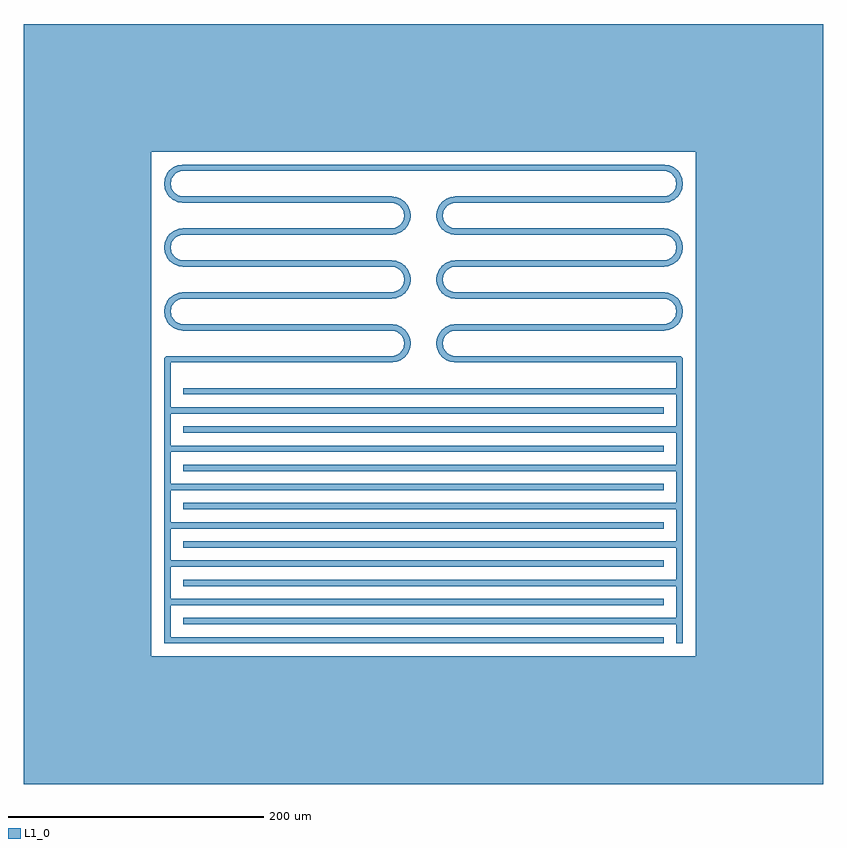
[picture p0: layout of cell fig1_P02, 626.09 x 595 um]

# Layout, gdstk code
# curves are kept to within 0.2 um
import gdstk
lib = gdstk.Library(unit=1e-6, precision=1e-09)
def R(c, l, rs):  # rectangles x0, y0, x1, y1
    for r in rs: c.add(gdstk.rectangle(r[:2], r[2:], *l))
def A(c, l, x, y, w, h, nx, ny, dx, dy):  # array of equal rectangles
    R(c, l, [(x+i*dx, y+j*dy, x+i*dx+w, y+j*dy+h) for i in range(nx) for j in range(ny)])
def P(c, l, *ps):  # polygons
    for p in ps: c.add(gdstk.Polygon(p, *l))
L1_0 = (1, 0)

fig1_p02 = lib.new_cell('fig1_P02')
A(fig1_p02, L1_0, -203.043, 0, 391.086, 5, 1, 7, 0, 30)
A(fig1_p02, L1_0, -188.043, 15, 391.086, 5, 1, 7, 0, 30)
A(fig1_p02, L1_0, -188.043, 245, 163.043, 5, 1, 5, 0, 25)
A(fig1_p02, L1_0, 25, 245, 163.043, 5, 1, 5, 0, 25)
R(fig1_p02, L1_0, [(-313.043,-110,313.043,-10), (-313.043,-10,-213.043,385), (213.043,-10,313.043,385), (-203.043,0,-198.043,200), (198.043,0,203.043,200), (-203.043,197.5,-198.043,222.5), (198.043,197.5,203.043,222.5), (-200.543,220,-25,225), (25,220,200.543,225), (-188.043,370,188.043,375), (-313.043,385,313.043,485)])
P(fig1_p02, L1_0, [(14.979,334.674),(10.021,335.326),(10.447,338.562),(15.405,337.909)],
  [(12.926,335.735),(11.158,336.467),(10.426,338.235),(11.158,340.003),(12.926,340.735),(14.694,340.003),(15.426,338.235),(14.694,336.467)],
  [(12.5,332.5),(10.732,333.232),(10,335),(10.732,336.768),(12.5,337.5),(14.268,336.768),(15,335),(14.268,333.232)],
  [(195.815,347.191),(192.771,351.158),(195.36,353.145),(198.404,349.178)],
  [(192.235,345.616),(190.322,350.236),(193.336,351.484),(195.25,346.865)],
  [(188.369,345.021),(187.717,349.979),(190.952,350.405),(191.605,345.447)],
  [(190.952,369.595),(187.717,370.021),(188.369,374.979),(191.605,374.553)],
  [(193.336,368.516),(190.322,369.764),(192.235,374.384),(195.25,373.135)],
  [(195.36,366.855),(192.771,368.842),(195.815,372.809),(198.404,370.822)],
  [(196.885,364.728),(194.898,367.317),(198.865,370.361),(200.852,367.772)],
  [(197.807,362.279),(196.559,365.293),(201.178,367.207),(202.427,364.192)],
  [(198.064,359.674),(197.638,362.909),(202.596,363.562),(203.022,360.326)],
  [(202.596,356.438),(197.638,357.091),(198.064,360.326),(203.022,359.674)],
  [(188.043,370),(186.275,370.732),(185.543,372.5),(186.275,374.268),(188.043,375),(189.811,374.268),(190.543,372.5),(189.811,370.732)],
  [(191.278,369.574),(189.51,370.306),(188.778,372.074),(189.51,373.842),(191.278,374.574),(193.046,373.842),(193.778,372.074),(193.046,370.306)],
  [(194.293,368.325),(192.525,369.058),(191.793,370.825),(192.525,372.593),(194.293,373.325),(196.061,372.593),(196.793,370.825),(196.061,369.058)],
  [(196.882,366.339),(195.114,367.071),(194.382,368.839),(195.114,370.607),(196.882,371.339),(198.65,370.607),(199.382,368.839),(198.65,367.071)],
  [(198.868,363.75),(197.101,364.482),(196.368,366.25),(197.101,368.018),(198.868,368.75),(200.636,368.018),(201.368,366.25),(200.636,364.482)],
  [(200.117,360.735),(198.349,361.467),(197.617,363.235),(198.349,365.003),(200.117,365.735),(201.885,365.003),(202.617,363.235),(201.885,361.467)],
  [(200.543,357.5),(198.775,358.232),(198.043,360),(198.775,361.768),(200.543,362.5),(202.311,361.768),(203.043,360),(202.311,358.232)],
  [(200.117,354.265),(198.349,354.997),(197.617,356.765),(198.349,358.533),(200.117,359.265),(201.885,358.533),(202.617,356.765),(201.885,354.997)],
  [(198.868,351.25),(197.101,351.982),(196.368,353.75),(197.101,355.518),(198.868,356.25),(200.636,355.518),(201.368,353.75),(200.636,351.982)],
  [(196.882,348.661),(195.114,349.393),(194.382,351.161),(195.114,352.929),(196.882,353.661),(198.65,352.929),(199.382,351.161),(198.65,349.393)],
  [(194.293,346.675),(192.525,347.407),(191.793,349.175),(192.525,350.942),(194.293,351.675),(196.061,350.942),(196.793,349.175),(196.061,347.407)],
  [(191.278,345.426),(189.51,346.158),(188.778,347.926),(189.51,349.694),(191.278,350.426),(193.046,349.694),(193.778,347.926),(193.046,346.158)],
  [(188.043,345),(186.275,345.732),(185.543,347.5),(186.275,349.268),(188.043,350),(189.811,349.268),(190.543,347.5),(189.811,345.732)],
  [(201.178,352.793),(196.559,354.707),(197.807,357.721),(202.427,355.808)],
  [(198.865,349.639),(194.898,352.683),(196.885,355.272),(200.852,352.228)],
  [(19.707,343.516),(17.793,348.135),(20.808,349.384),(22.721,344.764)],
  [(17.683,341.855),(14.639,345.822),(17.228,347.809),(20.272,343.842)],
  [(16.158,339.728),(12.191,342.772),(14.178,345.361),(18.145,342.317)],
  [(25,345),(23.232,345.732),(22.5,347.5),(23.232,349.268),(25,350),(26.768,349.268),(27.5,347.5),(26.768,345.732)],
  [(21.765,344.574),(19.997,345.306),(19.265,347.074),(19.997,348.842),(21.765,349.574),(23.533,348.842),(24.265,347.074),(23.533,345.306)],
  [(18.75,343.325),(16.982,344.058),(16.25,345.825),(16.982,347.593),(18.75,348.325),(20.518,347.593),(21.25,345.825),(20.518,344.058)],
  [(16.161,341.339),(14.393,342.071),(13.661,343.839),(14.393,345.607),(16.161,346.339),(17.929,345.607),(18.661,343.839),(17.929,342.071)],
  [(14.175,338.75),(12.407,339.482),(11.675,341.25),(12.407,343.018),(14.175,343.75),(15.942,343.018),(16.675,341.25),(15.942,339.482)],
  [(15.236,337.279),(10.616,339.192),(11.865,342.207),(16.484,340.293)],
  [(22.091,344.595),(21.438,349.553),(24.674,349.979),(25.326,345.021)],
  [(16.158,239.728),(12.191,242.772),(14.178,245.361),(18.145,242.317)],
  [(15.236,237.279),(10.616,239.192),(11.865,242.207),(16.484,240.293)],
  [(14.979,234.674),(10.021,235.326),(10.447,238.562),(15.405,237.909)],
  [(10.447,231.438),(10.021,234.674),(14.979,235.326),(15.405,232.091)],
  [(11.865,227.793),(10.616,230.808),(15.236,232.721),(16.484,229.707)],
  [(14.178,224.639),(12.191,227.228),(16.158,230.272),(18.145,227.683)],
  [(17.228,222.191),(14.639,224.178),(17.683,228.145),(20.272,226.158)],
  [(20.808,220.616),(17.793,221.865),(19.707,226.484),(22.721,225.236)],
  [(24.674,220.021),(21.438,220.447),(22.091,225.405),(25.326,224.979)],
  [(20.808,320.616),(17.793,321.865),(19.707,326.484),(22.721,325.236)],
  [(24.674,320.021),(21.438,320.447),(22.091,325.405),(25.326,324.979)],
  [(10.447,331.438),(10.021,334.674),(14.979,335.326),(15.405,332.091)],
  [(11.865,327.793),(10.616,330.808),(15.236,332.721),(16.484,329.707)],
  [(22.091,294.595),(21.438,299.553),(24.674,299.979),(25.326,295.021)],
  [(19.707,293.516),(17.793,298.135),(20.808,299.384),(22.721,294.764)],
  [(17.683,291.855),(14.639,295.822),(17.228,297.809),(20.272,293.842)],
  [(16.158,289.728),(12.191,292.772),(14.178,295.361),(18.145,292.317)],
  [(15.236,287.279),(10.616,289.192),(11.865,292.207),(16.484,290.293)],
  [(14.979,284.674),(10.021,285.326),(10.447,288.562),(15.405,287.909)],
  [(10.447,281.438),(10.021,284.674),(14.979,285.326),(15.405,282.091)],
  [(11.865,277.793),(10.616,280.808),(15.236,282.721),(16.484,279.707)],
  [(14.178,274.639),(12.191,277.228),(16.158,280.272),(18.145,277.683)],
  [(17.228,272.191),(14.639,274.178),(17.683,278.145),(20.272,276.158)],
  [(20.808,270.616),(17.793,271.865),(19.707,276.484),(22.721,275.236)],
  [(24.674,270.021),(21.438,270.447),(22.091,275.405),(25.326,274.979)],
  [(14.178,324.639),(12.191,327.228),(16.158,330.272),(18.145,327.683)],
  [(17.228,322.191),(14.639,324.178),(17.683,328.145),(20.272,326.158)],
  [(22.091,244.595),(21.438,249.553),(24.674,249.979),(25.326,245.021)],
  [(19.707,243.516),(17.793,248.135),(20.808,249.384),(22.721,244.764)],
  [(17.683,241.855),(14.639,245.822),(17.228,247.809),(20.272,243.842)],
  [(12.926,329.265),(11.158,329.997),(10.426,331.765),(11.158,333.533),(12.926,334.265),(14.694,333.533),(15.426,331.765),(14.694,329.997)],
  [(14.175,326.25),(12.407,326.982),(11.675,328.75),(12.407,330.518),(14.175,331.25),(15.942,330.518),(16.675,328.75),(15.942,326.982)],
  [(16.161,323.661),(14.393,324.393),(13.661,326.161),(14.393,327.929),(16.161,328.661),(17.929,327.929),(18.661,326.161),(17.929,324.393)],
  [(18.75,321.675),(16.982,322.407),(16.25,324.175),(16.982,325.942),(18.75,326.675),(20.518,325.942),(21.25,324.175),(20.518,322.407)],
  [(21.765,320.426),(19.997,321.158),(19.265,322.926),(19.997,324.694),(21.765,325.426),(23.533,324.694),(24.265,322.926),(23.533,321.158)],
  [(25,320),(23.232,320.732),(22.5,322.5),(23.232,324.268),(25,325),(26.768,324.268),(27.5,322.5),(26.768,320.732)],
  [(25,295),(23.232,295.732),(22.5,297.5),(23.232,299.268),(25,300),(26.768,299.268),(27.5,297.5),(26.768,295.732)],
  [(21.765,294.574),(19.997,295.306),(19.265,297.074),(19.997,298.842),(21.765,299.574),(23.533,298.842),(24.265,297.074),(23.533,295.306)],
  [(18.75,293.325),(16.982,294.058),(16.25,295.825),(16.982,297.593),(18.75,298.325),(20.518,297.593),(21.25,295.825),(20.518,294.058)],
  [(16.161,291.339),(14.393,292.071),(13.661,293.839),(14.393,295.607),(16.161,296.339),(17.929,295.607),(18.661,293.839),(17.929,292.071)],
  [(14.175,288.75),(12.407,289.482),(11.675,291.25),(12.407,293.018),(14.175,293.75),(15.942,293.018),(16.675,291.25),(15.942,289.482)],
  [(12.926,285.735),(11.158,286.467),(10.426,288.235),(11.158,290.003),(12.926,290.735),(14.694,290.003),(15.426,288.235),(14.694,286.467)],
  [(12.5,282.5),(10.732,283.232),(10,285),(10.732,286.768),(12.5,287.5),(14.268,286.768),(15,285),(14.268,283.232)],
  [(12.926,279.265),(11.158,279.997),(10.426,281.765),(11.158,283.533),(12.926,284.265),(14.694,283.533),(15.426,281.765),(14.694,279.997)],
  [(14.175,276.25),(12.407,276.982),(11.675,278.75),(12.407,280.518),(14.175,281.25),(15.942,280.518),(16.675,278.75),(15.942,276.982)],
  [(16.161,273.661),(14.393,274.393),(13.661,276.161),(14.393,277.929),(16.161,278.661),(17.929,277.929),(18.661,276.161),(17.929,274.393)],
  [(18.75,271.675),(16.982,272.407),(16.25,274.175),(16.982,275.942),(18.75,276.675),(20.518,275.942),(21.25,274.175),(20.518,272.407)],
  [(21.765,270.426),(19.997,271.158),(19.265,272.926),(19.997,274.694),(21.765,275.426),(23.533,274.694),(24.265,272.926),(23.533,271.158)],
  [(25,270),(23.232,270.732),(22.5,272.5),(23.232,274.268),(25,275),(26.768,274.268),(27.5,272.5),(26.768,270.732)],
  [(25,245),(23.232,245.732),(22.5,247.5),(23.232,249.268),(25,250),(26.768,249.268),(27.5,247.5),(26.768,245.732)],
  [(21.765,244.574),(19.997,245.306),(19.265,247.074),(19.997,248.842),(21.765,249.574),(23.533,248.842),(24.265,247.074),(23.533,245.306)],
  [(18.75,243.325),(16.982,244.058),(16.25,245.825),(16.982,247.593),(18.75,248.325),(20.518,247.593),(21.25,245.825),(20.518,244.058)],
  [(16.161,241.339),(14.393,242.071),(13.661,243.839),(14.393,245.607),(16.161,246.339),(17.929,245.607),(18.661,243.839),(17.929,242.071)],
  [(14.175,238.75),(12.407,239.482),(11.675,241.25),(12.407,243.018),(14.175,243.75),(15.942,243.018),(16.675,241.25),(15.942,239.482)],
  [(12.926,235.735),(11.158,236.467),(10.426,238.235),(11.158,240.003),(12.926,240.735),(14.694,240.003),(15.426,238.235),(14.694,236.467)],
  [(12.5,232.5),(10.732,233.232),(10,235),(10.732,236.768),(12.5,237.5),(14.268,236.768),(15,235),(14.268,233.232)],
  [(12.926,229.265),(11.158,229.997),(10.426,231.765),(11.158,233.533),(12.926,234.265),(14.694,233.533),(15.426,231.765),(14.694,229.997)],
  [(14.175,226.25),(12.407,226.982),(11.675,228.75),(12.407,230.518),(14.175,231.25),(15.942,230.518),(16.675,228.75),(15.942,226.982)],
  [(16.161,223.661),(14.393,224.393),(13.661,226.161),(14.393,227.929),(16.161,228.661),(17.929,227.929),(18.661,226.161),(17.929,224.393)],
  [(18.75,221.675),(16.982,222.407),(16.25,224.175),(16.982,225.942),(18.75,226.675),(20.518,225.942),(21.25,224.175),(20.518,222.407)],
  [(21.765,220.426),(19.997,221.158),(19.265,222.926),(19.997,224.694),(21.765,225.426),(23.533,224.694),(24.265,222.926),(23.533,221.158)],
  [(25,220),(23.232,220.732),(22.5,222.5),(23.232,224.268),(25,225),(26.768,224.268),(27.5,222.5),(26.768,220.732)],
  [(191.278,319.574),(189.51,320.306),(188.778,322.074),(189.51,323.842),(191.278,324.574),(193.046,323.842),(193.778,322.074),(193.046,320.306)],
  [(194.293,318.325),(192.525,319.058),(191.793,320.825),(192.525,322.593),(194.293,323.325),(196.061,322.593),(196.793,320.825),(196.061,319.058)],
  [(196.882,316.339),(195.114,317.071),(194.382,318.839),(195.114,320.607),(196.882,321.339),(198.65,320.607),(199.382,318.839),(198.65,317.071)],
  [(198.868,313.75),(197.101,314.482),(196.368,316.25),(197.101,318.018),(198.868,318.75),(200.636,318.018),(201.368,316.25),(200.636,314.482)],
  [(200.117,310.735),(198.349,311.467),(197.617,313.235),(198.349,315.003),(200.117,315.735),(201.885,315.003),(202.617,313.235),(201.885,311.467)],
  [(200.543,307.5),(198.775,308.232),(198.043,310),(198.775,311.768),(200.543,312.5),(202.311,311.768),(203.043,310),(202.311,308.232)],
  [(200.117,304.265),(198.349,304.997),(197.617,306.765),(198.349,308.533),(200.117,309.265),(201.885,308.533),(202.617,306.765),(201.885,304.997)],
  [(198.868,301.25),(197.101,301.982),(196.368,303.75),(197.101,305.518),(198.868,306.25),(200.636,305.518),(201.368,303.75),(200.636,301.982)],
  [(196.882,298.661),(195.114,299.393),(194.382,301.161),(195.114,302.929),(196.882,303.661),(198.65,302.929),(199.382,301.161),(198.65,299.393)],
  [(194.293,296.675),(192.525,297.407),(191.793,299.175),(192.525,300.942),(194.293,301.675),(196.061,300.942),(196.793,299.175),(196.061,297.407)],
  [(191.278,295.426),(189.51,296.158),(188.778,297.926),(189.51,299.694),(191.278,300.426),(193.046,299.694),(193.778,297.926),(193.046,296.158)],
  [(188.043,295),(186.275,295.732),(185.543,297.5),(186.275,299.268),(188.043,300),(189.811,299.268),(190.543,297.5),(189.811,295.732)],
  [(195.36,266.855),(192.771,268.842),(195.815,272.809),(198.404,270.822)],
  [(196.885,264.728),(194.898,267.317),(198.865,270.361),(200.852,267.772)],
  [(197.807,262.279),(196.559,265.293),(201.178,267.207),(202.427,264.192)],
  [(198.064,259.674),(197.638,262.909),(202.596,263.562),(203.022,260.326)],
  [(202.596,256.438),(197.638,257.091),(198.064,260.326),(203.022,259.674)],
  [(201.178,252.793),(196.559,254.707),(197.807,257.721),(202.427,255.808)],
  [(198.865,249.639),(194.898,252.683),(196.885,255.272),(200.852,252.228)],
  [(195.815,247.191),(192.771,251.158),(195.36,253.145),(198.404,249.178)],
  [(192.235,245.616),(190.322,250.236),(193.336,251.484),(195.25,246.865)],
  [(188.369,245.021),(187.717,249.979),(190.952,250.405),(191.605,245.447)],
  [(190.952,319.595),(187.717,320.021),(188.369,324.979),(191.605,324.553)],
  [(193.336,318.516),(190.322,319.764),(192.235,324.384),(195.25,323.135)],
  [(195.36,316.855),(192.771,318.842),(195.815,322.809),(198.404,320.822)],
  [(188.043,270),(186.275,270.732),(185.543,272.5),(186.275,274.268),(188.043,275),(189.811,274.268),(190.543,272.5),(189.811,270.732)],
  [(191.278,269.574),(189.51,270.306),(188.778,272.074),(189.51,273.842),(191.278,274.574),(193.046,273.842),(193.778,272.074),(193.046,270.306)],
  [(194.293,268.325),(192.525,269.058),(191.793,270.825),(192.525,272.593),(194.293,273.325),(196.061,272.593),(196.793,270.825),(196.061,269.058)],
  [(196.882,266.339),(195.114,267.071),(194.382,268.839),(195.114,270.607),(196.882,271.339),(198.65,270.607),(199.382,268.839),(198.65,267.071)],
  [(198.868,263.75),(197.101,264.482),(196.368,266.25),(197.101,268.018),(198.868,268.75),(200.636,268.018),(201.368,266.25),(200.636,264.482)],
  [(200.117,260.735),(198.349,261.467),(197.617,263.235),(198.349,265.003),(200.117,265.735),(201.885,265.003),(202.617,263.235),(201.885,261.467)],
  [(200.543,257.5),(198.775,258.232),(198.043,260),(198.775,261.768),(200.543,262.5),(202.311,261.768),(203.043,260),(202.311,258.232)],
  [(200.117,254.265),(198.349,254.997),(197.617,256.765),(198.349,258.533),(200.117,259.265),(201.885,258.533),(202.617,256.765),(201.885,254.997)],
  [(198.868,251.25),(197.101,251.982),(196.368,253.75),(197.101,255.518),(198.868,256.25),(200.636,255.518),(201.368,253.75),(200.636,251.982)],
  [(196.882,248.661),(195.114,249.393),(194.382,251.161),(195.114,252.929),(196.882,253.661),(198.65,252.929),(199.382,251.161),(198.65,249.393)],
  [(194.293,246.675),(192.525,247.407),(191.793,249.175),(192.525,250.942),(194.293,251.675),(196.061,250.942),(196.793,249.175),(196.061,247.407)],
  [(191.278,245.426),(189.51,246.158),(188.778,247.926),(189.51,249.694),(191.278,250.426),(193.046,249.694),(193.778,247.926),(193.046,246.158)],
  [(188.043,245),(186.275,245.732),(185.543,247.5),(186.275,249.268),(188.043,250),(189.811,249.268),(190.543,247.5),(189.811,245.732)],
  [(196.885,314.728),(194.898,317.317),(198.865,320.361),(200.852,317.772)],
  [(197.807,312.279),(196.559,315.293),(201.178,317.207),(202.427,314.192)],
  [(198.064,309.674),(197.638,312.909),(202.596,313.562),(203.022,310.326)],
  [(202.596,306.438),(197.638,307.091),(198.064,310.326),(203.022,309.674)],
  [(201.178,302.793),(196.559,304.707),(197.807,307.721),(202.427,305.808)],
  [(198.865,299.639),(194.898,302.683),(196.885,305.272),(200.852,302.228)],
  [(195.815,297.191),(192.771,301.158),(195.36,303.145),(198.404,299.178)],
  [(192.235,295.616),(190.322,300.236),(193.336,301.484),(195.25,296.865)],
  [(188.369,295.021),(187.717,299.979),(190.952,300.405),(191.605,295.447)],
  [(190.952,269.595),(187.717,270.021),(188.369,274.979),(191.605,274.553)],
  [(193.336,268.516),(190.322,269.764),(192.235,274.384),(195.25,273.135)],
  [(188.043,320),(186.275,320.732),(185.543,322.5),(186.275,324.268),(188.043,325),(189.811,324.268),(190.543,322.5),(189.811,320.732)],
  [(200.543,220),(198.775,220.732),(198.043,222.5),(198.775,224.268),(200.543,225),(202.311,224.268),(203.043,222.5),(202.311,220.732)],
  [(-12.5,332.5),(-14.268,333.232),(-15,335),(-14.268,336.768),(-12.5,337.5),(-10.732,336.768),(-10,335),(-10.732,333.232)],
  [(-12.926,335.735),(-14.694,336.467),(-15.426,338.235),(-14.694,340.003),(-12.926,340.735),(-11.158,340.003),(-10.426,338.235),(-11.158,336.467)],
  [(-14.979,334.674),(-15.405,337.909),(-10.447,338.562),(-10.021,335.326)],
  [(-18.75,343.325),(-20.518,344.058),(-21.25,345.825),(-20.518,347.593),(-18.75,348.325),(-16.982,347.593),(-16.25,345.825),(-16.982,344.058)],
  [(-21.765,344.574),(-23.533,345.306),(-24.265,347.074),(-23.533,348.842),(-21.765,349.574),(-19.997,348.842),(-19.265,347.074),(-19.997,345.306)],
  [(-25,345),(-26.768,345.732),(-27.5,347.5),(-26.768,349.268),(-25,350),(-23.232,349.268),(-22.5,347.5),(-23.232,345.732)],
  [(-14.175,338.75),(-15.942,339.482),(-16.675,341.25),(-15.942,343.018),(-14.175,343.75),(-12.407,343.018),(-11.675,341.25),(-12.407,339.482)],
  [(-15.236,337.279),(-16.484,340.293),(-11.865,342.207),(-10.616,339.192)],
  [(-16.158,339.728),(-18.145,342.317),(-14.178,345.361),(-12.191,342.772)],
  [(-17.683,341.855),(-20.272,343.842),(-17.228,347.809),(-14.639,345.822)],
  [(-19.707,343.516),(-22.721,344.764),(-20.808,349.384),(-17.793,348.135)],
  [(-22.091,344.595),(-25.326,345.021),(-24.674,349.979),(-21.438,349.553)],
  [(-16.161,341.339),(-17.929,342.071),(-18.661,343.839),(-17.929,345.607),(-16.161,346.339),(-14.393,345.607),(-13.661,343.839),(-14.393,342.071)],
  [(-188.043,370),(-189.811,370.732),(-190.543,372.5),(-189.811,374.268),(-188.043,375),(-186.275,374.268),(-185.543,372.5),(-186.275,370.732)],
  [(-188.043,345),(-189.811,345.732),(-190.543,347.5),(-189.811,349.268),(-188.043,350),(-186.275,349.268),(-185.543,347.5),(-186.275,345.732)],
  [(-191.278,345.426),(-193.046,346.158),(-193.778,347.926),(-193.046,349.694),(-191.278,350.426),(-189.51,349.694),(-188.778,347.926),(-189.51,346.158)],
  [(-194.293,346.675),(-196.061,347.407),(-196.793,349.175),(-196.061,350.942),(-194.293,351.675),(-192.525,350.942),(-191.793,349.175),(-192.525,347.407)],
  [(-196.882,348.661),(-198.65,349.393),(-199.382,351.161),(-198.65,352.929),(-196.882,353.661),(-195.114,352.929),(-194.382,351.161),(-195.114,349.393)],
  [(-198.868,351.25),(-200.636,351.982),(-201.368,353.75),(-200.636,355.518),(-198.868,356.25),(-197.101,355.518),(-196.368,353.75),(-197.101,351.982)],
  [(-200.117,354.265),(-201.885,354.997),(-202.617,356.765),(-201.885,358.533),(-200.117,359.265),(-198.349,358.533),(-197.617,356.765),(-198.349,354.997)],
  [(-200.543,357.5),(-202.311,358.232),(-203.043,360),(-202.311,361.768),(-200.543,362.5),(-198.775,361.768),(-198.043,360),(-198.775,358.232)],
  [(-200.117,360.735),(-201.885,361.467),(-202.617,363.235),(-201.885,365.003),(-200.117,365.735),(-198.349,365.003),(-197.617,363.235),(-198.349,361.467)],
  [(-198.868,363.75),(-200.636,364.482),(-201.368,366.25),(-200.636,368.018),(-198.868,368.75),(-197.101,368.018),(-196.368,366.25),(-197.101,364.482)],
  [(-196.882,366.339),(-198.65,367.071),(-199.382,368.839),(-198.65,370.607),(-196.882,371.339),(-195.114,370.607),(-194.382,368.839),(-195.114,367.071)],
  [(-194.293,368.325),(-196.061,369.058),(-196.793,370.825),(-196.061,372.593),(-194.293,373.325),(-192.525,372.593),(-191.793,370.825),(-192.525,369.058)],
  [(-191.278,369.574),(-193.046,370.306),(-193.778,372.074),(-193.046,373.842),(-191.278,374.574),(-189.51,373.842),(-188.778,372.074),(-189.51,370.306)],
  [(-188.369,345.021),(-191.605,345.447),(-190.952,350.405),(-187.717,349.979)],
  [(-192.235,345.616),(-195.25,346.865),(-193.336,351.484),(-190.322,350.236)],
  [(-195.815,347.191),(-198.404,349.178),(-195.36,353.145),(-192.771,351.158)],
  [(-198.865,349.639),(-200.852,352.228),(-196.885,355.272),(-194.898,352.683)],
  [(-201.178,352.793),(-202.427,355.808),(-197.807,357.721),(-196.559,354.707)],
  [(-202.596,356.438),(-203.022,359.674),(-198.064,360.326),(-197.638,357.091)],
  [(-198.064,359.674),(-203.022,360.326),(-202.596,363.562),(-197.638,362.909)],
  [(-197.807,362.279),(-202.427,364.192),(-201.178,367.207),(-196.559,365.293)],
  [(-196.885,364.728),(-200.852,367.772),(-198.865,370.361),(-194.898,367.317)],
  [(-195.36,366.855),(-198.404,370.822),(-195.815,372.809),(-192.771,368.842)],
  [(-193.336,368.516),(-195.25,373.135),(-192.235,374.384),(-190.322,369.764)],
  [(-190.952,369.595),(-191.605,374.553),(-188.369,374.979),(-187.717,370.021)],
  [(-196.882,298.661),(-198.65,299.393),(-199.382,301.161),(-198.65,302.929),(-196.882,303.661),(-195.114,302.929),(-194.382,301.161),(-195.114,299.393)],
  [(-198.868,301.25),(-200.636,301.982),(-201.368,303.75),(-200.636,305.518),(-198.868,306.25),(-197.101,305.518),(-196.368,303.75),(-197.101,301.982)],
  [(-200.117,304.265),(-201.885,304.997),(-202.617,306.765),(-201.885,308.533),(-200.117,309.265),(-198.349,308.533),(-197.617,306.765),(-198.349,304.997)],
  [(-200.543,307.5),(-202.311,308.232),(-203.043,310),(-202.311,311.768),(-200.543,312.5),(-198.775,311.768),(-198.043,310),(-198.775,308.232)],
  [(-200.117,310.735),(-201.885,311.467),(-202.617,313.235),(-201.885,315.003),(-200.117,315.735),(-198.349,315.003),(-197.617,313.235),(-198.349,311.467)],
  [(-188.369,245.021),(-191.605,245.447),(-190.952,250.405),(-187.717,249.979)],
  [(-192.235,245.616),(-195.25,246.865),(-193.336,251.484),(-190.322,250.236)],
  [(-195.815,247.191),(-198.404,249.178),(-195.36,253.145),(-192.771,251.158)],
  [(-198.865,249.639),(-200.852,252.228),(-196.885,255.272),(-194.898,252.683)],
  [(-201.178,252.793),(-202.427,255.808),(-197.807,257.721),(-196.559,254.707)],
  [(-202.596,256.438),(-203.022,259.674),(-198.064,260.326),(-197.638,257.091)],
  [(-198.064,259.674),(-203.022,260.326),(-202.596,263.562),(-197.638,262.909)],
  [(-197.807,262.279),(-202.427,264.192),(-201.178,267.207),(-196.559,265.293)],
  [(-196.885,264.728),(-200.852,267.772),(-198.865,270.361),(-194.898,267.317)],
  [(-195.36,266.855),(-198.404,270.822),(-195.815,272.809),(-192.771,268.842)],
  [(-193.336,268.516),(-195.25,273.135),(-192.235,274.384),(-190.322,269.764)],
  [(-190.952,269.595),(-191.605,274.553),(-188.369,274.979),(-187.717,270.021)],
  [(-198.868,313.75),(-200.636,314.482),(-201.368,316.25),(-200.636,318.018),(-198.868,318.75),(-197.101,318.018),(-196.368,316.25),(-197.101,314.482)],
  [(-196.882,316.339),(-198.65,317.071),(-199.382,318.839),(-198.65,320.607),(-196.882,321.339),(-195.114,320.607),(-194.382,318.839),(-195.114,317.071)],
  [(-188.369,295.021),(-191.605,295.447),(-190.952,300.405),(-187.717,299.979)],
  [(-192.235,295.616),(-195.25,296.865),(-193.336,301.484),(-190.322,300.236)],
  [(-195.815,297.191),(-198.404,299.178),(-195.36,303.145),(-192.771,301.158)],
  [(-198.865,299.639),(-200.852,302.228),(-196.885,305.272),(-194.898,302.683)],
  [(-201.178,302.793),(-202.427,305.808),(-197.807,307.721),(-196.559,304.707)],
  [(-202.596,306.438),(-203.022,309.674),(-198.064,310.326),(-197.638,307.091)],
  [(-198.064,309.674),(-203.022,310.326),(-202.596,313.562),(-197.638,312.909)],
  [(-197.807,312.279),(-202.427,314.192),(-201.178,317.207),(-196.559,315.293)],
  [(-196.885,314.728),(-200.852,317.772),(-198.865,320.361),(-194.898,317.317)],
  [(-195.36,316.855),(-198.404,320.822),(-195.815,322.809),(-192.771,318.842)],
  [(-193.336,318.516),(-195.25,323.135),(-192.235,324.384),(-190.322,319.764)],
  [(-190.952,319.595),(-191.605,324.553),(-188.369,324.979),(-187.717,320.021)],
  [(-194.293,318.325),(-196.061,319.058),(-196.793,320.825),(-196.061,322.593),(-194.293,323.325),(-192.525,322.593),(-191.793,320.825),(-192.525,319.058)],
  [(-191.278,319.574),(-193.046,320.306),(-193.778,322.074),(-193.046,323.842),(-191.278,324.574),(-189.51,323.842),(-188.778,322.074),(-189.51,320.306)],
  [(-188.043,320),(-189.811,320.732),(-190.543,322.5),(-189.811,324.268),(-188.043,325),(-186.275,324.268),(-185.543,322.5),(-186.275,320.732)],
  [(-200.543,220),(-202.311,220.732),(-203.043,222.5),(-202.311,224.268),(-200.543,225),(-198.775,224.268),(-198.043,222.5),(-198.775,220.732)],
  [(-188.043,245),(-189.811,245.732),(-190.543,247.5),(-189.811,249.268),(-188.043,250),(-186.275,249.268),(-185.543,247.5),(-186.275,245.732)],
  [(-191.278,245.426),(-193.046,246.158),(-193.778,247.926),(-193.046,249.694),(-191.278,250.426),(-189.51,249.694),(-188.778,247.926),(-189.51,246.158)],
  [(-194.293,246.675),(-196.061,247.407),(-196.793,249.175),(-196.061,250.942),(-194.293,251.675),(-192.525,250.942),(-191.793,249.175),(-192.525,247.407)],
  [(-196.882,248.661),(-198.65,249.393),(-199.382,251.161),(-198.65,252.929),(-196.882,253.661),(-195.114,252.929),(-194.382,251.161),(-195.114,249.393)],
  [(-198.868,251.25),(-200.636,251.982),(-201.368,253.75),(-200.636,255.518),(-198.868,256.25),(-197.101,255.518),(-196.368,253.75),(-197.101,251.982)],
  [(-200.117,254.265),(-201.885,254.997),(-202.617,256.765),(-201.885,258.533),(-200.117,259.265),(-198.349,258.533),(-197.617,256.765),(-198.349,254.997)],
  [(-200.543,257.5),(-202.311,258.232),(-203.043,260),(-202.311,261.768),(-200.543,262.5),(-198.775,261.768),(-198.043,260),(-198.775,258.232)],
  [(-200.117,260.735),(-201.885,261.467),(-202.617,263.235),(-201.885,265.003),(-200.117,265.735),(-198.349,265.003),(-197.617,263.235),(-198.349,261.467)],
  [(-198.868,263.75),(-200.636,264.482),(-201.368,266.25),(-200.636,268.018),(-198.868,268.75),(-197.101,268.018),(-196.368,266.25),(-197.101,264.482)],
  [(-196.882,266.339),(-198.65,267.071),(-199.382,268.839),(-198.65,270.607),(-196.882,271.339),(-195.114,270.607),(-194.382,268.839),(-195.114,267.071)],
  [(-194.293,268.325),(-196.061,269.058),(-196.793,270.825),(-196.061,272.593),(-194.293,273.325),(-192.525,272.593),(-191.793,270.825),(-192.525,269.058)],
  [(-191.278,269.574),(-193.046,270.306),(-193.778,272.074),(-193.046,273.842),(-191.278,274.574),(-189.51,273.842),(-188.778,272.074),(-189.51,270.306)],
  [(-188.043,270),(-189.811,270.732),(-190.543,272.5),(-189.811,274.268),(-188.043,275),(-186.275,274.268),(-185.543,272.5),(-186.275,270.732)],
  [(-188.043,295),(-189.811,295.732),(-190.543,297.5),(-189.811,299.268),(-188.043,300),(-186.275,299.268),(-185.543,297.5),(-186.275,295.732)],
  [(-191.278,295.426),(-193.046,296.158),(-193.778,297.926),(-193.046,299.694),(-191.278,300.426),(-189.51,299.694),(-188.778,297.926),(-189.51,296.158)],
  [(-194.293,296.675),(-196.061,297.407),(-196.793,299.175),(-196.061,300.942),(-194.293,301.675),(-192.525,300.942),(-191.793,299.175),(-192.525,297.407)],
  [(-25,245),(-26.768,245.732),(-27.5,247.5),(-26.768,249.268),(-25,250),(-23.232,249.268),(-22.5,247.5),(-23.232,245.732)],
  [(-25,320),(-26.768,320.732),(-27.5,322.5),(-26.768,324.268),(-25,325),(-23.232,324.268),(-22.5,322.5),(-23.232,320.732)],
  [(-21.765,320.426),(-23.533,321.158),(-24.265,322.926),(-23.533,324.694),(-21.765,325.426),(-19.997,324.694),(-19.265,322.926),(-19.997,321.158)],
  [(-18.75,321.675),(-20.518,322.407),(-21.25,324.175),(-20.518,325.942),(-18.75,326.675),(-16.982,325.942),(-16.25,324.175),(-16.982,322.407)],
  [(-16.161,323.661),(-17.929,324.393),(-18.661,326.161),(-17.929,327.929),(-16.161,328.661),(-14.393,327.929),(-13.661,326.161),(-14.393,324.393)],
  [(-14.175,326.25),(-15.942,326.982),(-16.675,328.75),(-15.942,330.518),(-14.175,331.25),(-12.407,330.518),(-11.675,328.75),(-12.407,326.982)],
  [(-12.926,329.265),(-14.694,329.997),(-15.426,331.765),(-14.694,333.533),(-12.926,334.265),(-11.158,333.533),(-10.426,331.765),(-11.158,329.997)],
  [(-25,270),(-26.768,270.732),(-27.5,272.5),(-26.768,274.268),(-25,275),(-23.232,274.268),(-22.5,272.5),(-23.232,270.732)],
  [(-21.765,270.426),(-23.533,271.158),(-24.265,272.926),(-23.533,274.694),(-21.765,275.426),(-19.997,274.694),(-19.265,272.926),(-19.997,271.158)],
  [(-18.75,271.675),(-20.518,272.407),(-21.25,274.175),(-20.518,275.942),(-18.75,276.675),(-16.982,275.942),(-16.25,274.175),(-16.982,272.407)],
  [(-16.161,273.661),(-17.929,274.393),(-18.661,276.161),(-17.929,277.929),(-16.161,278.661),(-14.393,277.929),(-13.661,276.161),(-14.393,274.393)],
  [(-24.674,270.021),(-25.326,274.979),(-22.091,275.405),(-21.438,270.447)],
  [(-20.808,270.616),(-22.721,275.236),(-19.707,276.484),(-17.793,271.865)],
  [(-17.228,272.191),(-20.272,276.158),(-17.683,278.145),(-14.639,274.178)],
  [(-14.178,274.639),(-18.145,277.683),(-16.158,280.272),(-12.191,277.228)],
  [(-11.865,277.793),(-16.484,279.707),(-15.236,282.721),(-10.616,280.808)],
  [(-10.447,281.438),(-15.405,282.091),(-14.979,285.326),(-10.021,284.674)],
  [(-14.979,284.674),(-15.405,287.909),(-10.447,288.562),(-10.021,285.326)],
  [(-15.236,287.279),(-16.484,290.293),(-11.865,292.207),(-10.616,289.192)],
  [(-16.158,289.728),(-18.145,292.317),(-14.178,295.361),(-12.191,292.772)],
  [(-17.683,291.855),(-20.272,293.842),(-17.228,297.809),(-14.639,295.822)],
  [(-19.707,293.516),(-22.721,294.764),(-20.808,299.384),(-17.793,298.135)],
  [(-22.091,294.595),(-25.326,295.021),(-24.674,299.979),(-21.438,299.553)],
  [(-14.175,276.25),(-15.942,276.982),(-16.675,278.75),(-15.942,280.518),(-14.175,281.25),(-12.407,280.518),(-11.675,278.75),(-12.407,276.982)],
  [(-12.926,279.265),(-14.694,279.997),(-15.426,281.765),(-14.694,283.533),(-12.926,284.265),(-11.158,283.533),(-10.426,281.765),(-11.158,279.997)],
  [(-12.5,282.5),(-14.268,283.232),(-15,285),(-14.268,286.768),(-12.5,287.5),(-10.732,286.768),(-10,285),(-10.732,283.232)],
  [(-12.926,285.735),(-14.694,286.467),(-15.426,288.235),(-14.694,290.003),(-12.926,290.735),(-11.158,290.003),(-10.426,288.235),(-11.158,286.467)],
  [(-14.175,288.75),(-15.942,289.482),(-16.675,291.25),(-15.942,293.018),(-14.175,293.75),(-12.407,293.018),(-11.675,291.25),(-12.407,289.482)],
  [(-16.161,291.339),(-17.929,292.071),(-18.661,293.839),(-17.929,295.607),(-16.161,296.339),(-14.393,295.607),(-13.661,293.839),(-14.393,292.071)],
  [(-18.75,293.325),(-20.518,294.058),(-21.25,295.825),(-20.518,297.593),(-18.75,298.325),(-16.982,297.593),(-16.25,295.825),(-16.982,294.058)],
  [(-21.765,294.574),(-23.533,295.306),(-24.265,297.074),(-23.533,298.842),(-21.765,299.574),(-19.997,298.842),(-19.265,297.074),(-19.997,295.306)],
  [(-25,295),(-26.768,295.732),(-27.5,297.5),(-26.768,299.268),(-25,300),(-23.232,299.268),(-22.5,297.5),(-23.232,295.732)],
  [(-25,220),(-26.768,220.732),(-27.5,222.5),(-26.768,224.268),(-25,225),(-23.232,224.268),(-22.5,222.5),(-23.232,220.732)],
  [(-21.765,220.426),(-23.533,221.158),(-24.265,222.926),(-23.533,224.694),(-21.765,225.426),(-19.997,224.694),(-19.265,222.926),(-19.997,221.158)],
  [(-18.75,221.675),(-20.518,222.407),(-21.25,224.175),(-20.518,225.942),(-18.75,226.675),(-16.982,225.942),(-16.25,224.175),(-16.982,222.407)],
  [(-16.161,223.661),(-17.929,224.393),(-18.661,226.161),(-17.929,227.929),(-16.161,228.661),(-14.393,227.929),(-13.661,226.161),(-14.393,224.393)],
  [(-14.175,226.25),(-15.942,226.982),(-16.675,228.75),(-15.942,230.518),(-14.175,231.25),(-12.407,230.518),(-11.675,228.75),(-12.407,226.982)],
  [(-24.674,320.021),(-25.326,324.979),(-22.091,325.405),(-21.438,320.447)],
  [(-20.808,320.616),(-22.721,325.236),(-19.707,326.484),(-17.793,321.865)],
  [(-17.228,322.191),(-20.272,326.158),(-17.683,328.145),(-14.639,324.178)],
  [(-14.178,324.639),(-18.145,327.683),(-16.158,330.272),(-12.191,327.228)],
  [(-11.865,327.793),(-16.484,329.707),(-15.236,332.721),(-10.616,330.808)],
  [(-10.447,331.438),(-15.405,332.091),(-14.979,335.326),(-10.021,334.674)],
  [(-12.926,229.265),(-14.694,229.997),(-15.426,231.765),(-14.694,233.533),(-12.926,234.265),(-11.158,233.533),(-10.426,231.765),(-11.158,229.997)],
  [(-12.5,232.5),(-14.268,233.232),(-15,235),(-14.268,236.768),(-12.5,237.5),(-10.732,236.768),(-10,235),(-10.732,233.232)],
  [(-12.926,235.735),(-14.694,236.467),(-15.426,238.235),(-14.694,240.003),(-12.926,240.735),(-11.158,240.003),(-10.426,238.235),(-11.158,236.467)],
  [(-14.175,238.75),(-15.942,239.482),(-16.675,241.25),(-15.942,243.018),(-14.175,243.75),(-12.407,243.018),(-11.675,241.25),(-12.407,239.482)],
  [(-24.674,220.021),(-25.326,224.979),(-22.091,225.405),(-21.438,220.447)],
  [(-20.808,220.616),(-22.721,225.236),(-19.707,226.484),(-17.793,221.865)],
  [(-17.228,222.191),(-20.272,226.158),(-17.683,228.145),(-14.639,224.178)],
  [(-14.178,224.639),(-18.145,227.683),(-16.158,230.272),(-12.191,227.228)],
  [(-11.865,227.793),(-16.484,229.707),(-15.236,232.721),(-10.616,230.808)],
  [(-10.447,231.438),(-15.405,232.091),(-14.979,235.326),(-10.021,234.674)],
  [(-14.979,234.674),(-15.405,237.909),(-10.447,238.562),(-10.021,235.326)],
  [(-15.236,237.279),(-16.484,240.293),(-11.865,242.207),(-10.616,239.192)],
  [(-16.158,239.728),(-18.145,242.317),(-14.178,245.361),(-12.191,242.772)],
  [(-17.683,241.855),(-20.272,243.842),(-17.228,247.809),(-14.639,245.822)],
  [(-19.707,243.516),(-22.721,244.764),(-20.808,249.384),(-17.793,248.135)],
  [(-22.091,244.595),(-25.326,245.021),(-24.674,249.979),(-21.438,249.553)],
  [(-16.161,241.339),(-17.929,242.071),(-18.661,243.839),(-17.929,245.607),(-16.161,246.339),(-14.393,245.607),(-13.661,243.839),(-14.393,242.071)],
  [(-18.75,243.325),(-20.518,244.058),(-21.25,245.825),(-20.518,247.593),(-18.75,248.325),(-16.982,247.593),(-16.25,245.825),(-16.982,244.058)],
  [(-21.765,244.574),(-23.533,245.306),(-24.265,247.074),(-23.533,248.842),(-21.765,249.574),(-19.997,248.842),(-19.265,247.074),(-19.997,245.306)])

lib.write_gds('fig1_P02.gds')
